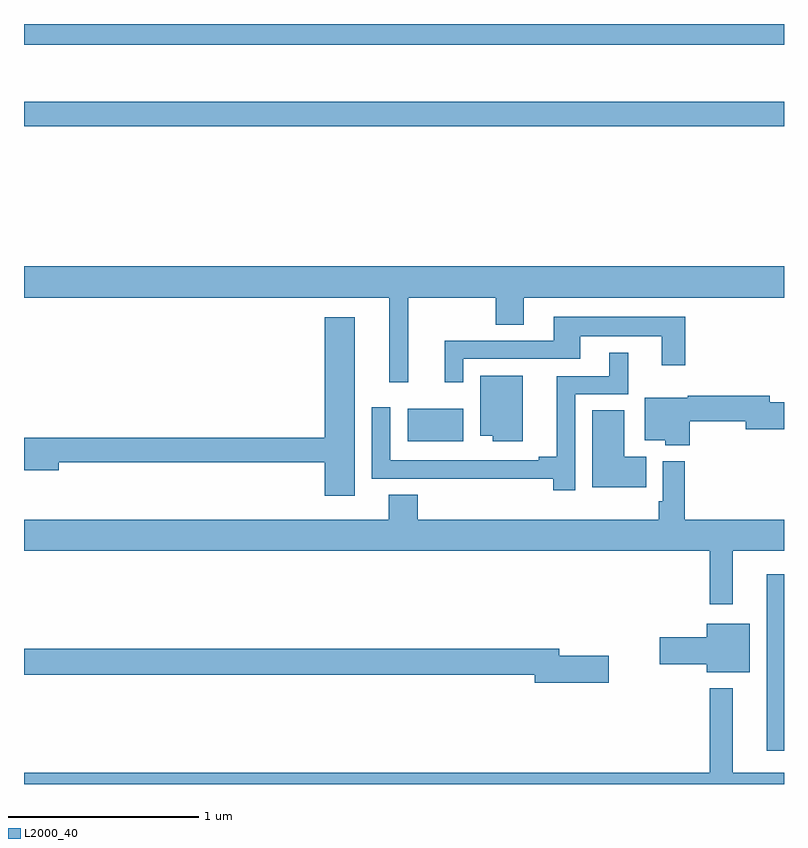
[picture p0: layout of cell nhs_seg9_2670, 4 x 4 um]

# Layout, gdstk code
import gdstk
lib = gdstk.Library(unit=1e-6, precision=1e-09)
def R(c, l, rs):  # rectangles x0, y0, x1, y1
    for r in rs: c.add(gdstk.rectangle(r[:2], r[2:], *l))
def P(c, l, *ps):  # polygons
    for p in ps: c.add(gdstk.Polygon(p, *l))
L2000_40 = (2000, 40)

nhs_seg9_2670 = lib.new_cell('nhs_seg9_2670')
R(nhs_seg9_2670, L2000_40, [(266.909,1220.675,267,1221.604), (265.019,1222.304,265.312,1222.474), (263,1223.962,267,1224.091), (263,1224.392,267,1224.5)])
P(nhs_seg9_2670, L2000_40, [(265.022,1223.06),(265.483,1223.06),(265.483,1222.918),(265.63,1222.918),(265.63,1223.06),(267,1223.06),(267,1223.224),(263,1223.224),(263,1223.06),(264.923,1223.06),(264.923,1222.614),(265.022,1222.614)],
  [(265.311,1222.737),(265.927,1222.737),(265.927,1222.856),(266.357,1222.856),(266.357,1222.704),(266.479,1222.704),(266.479,1222.96),(265.787,1222.96),(265.787,1222.833),(265.214,1222.833),(265.214,1222.614),(265.311,1222.614)],
  [(264.742,1222.957),(264.584,1222.957),(264.584,1222.322),(263,1222.322),(263,1222.151),(263.182,1222.151),(263.182,1222.194),(264.584,1222.194),(264.584,1222.017),(264.742,1222.017)],
  [(265.902,1222.551),(266.179,1222.551),(266.179,1222.771),(266.081,1222.771),(266.081,1222.647),(265.805,1222.647),(265.805,1222.223),(265.709,1222.223),(265.709,1222.203),(264.927,1222.203),(264.927,1222.483),(264.831,1222.483),(264.831,1222.107),(265.156,1222.107),(265.156,1222.106),(265.786,1222.106),(265.786,1222.047),(265.902,1222.047)],
  [(265.624,1222.648),(265.4,1222.648),(265.4,1222.334),(265.466,1222.334),(265.466,1222.304),(265.624,1222.304)],
  [(266.505,1222.408),(266.798,1222.408),(266.798,1222.366),(267,1222.366),(267,1222.508),(266.926,1222.508),(266.926,1222.544),(266.493,1222.544),(266.493,1222.534),(266.267,1222.534),(266.267,1222.31),(266.376,1222.31),(266.376,1222.283),(266.505,1222.283)],
  [(266.276,1222.222),(266.158,1222.222),(266.158,1222.466),(265.991,1222.466),(265.991,1222.061),(266.276,1222.061)],
  [(266.731,1221.728),(267,1221.728),(267,1221.892),(266.477,1221.892),(266.477,1222.198),(266.361,1222.198),(266.361,1221.988),(266.341,1221.988),(266.341,1221.892),(265.073,1221.892),(265.073,1222.022),(264.92,1222.022),(264.92,1221.892),(263,1221.892),(263,1221.728),(266.61,1221.728),(266.61,1221.447),(266.731,1221.447)],
  [(266.821,1221.343),(266.594,1221.343),(266.594,1221.273),(266.346,1221.273),(266.346,1221.131),(266.594,1221.131),(266.594,1221.089),(266.821,1221.089)],
  [(266.077,1221.176),(265.816,1221.176),(265.816,1221.212),(263,1221.212),(263,1221.076),(265.688,1221.076),(265.688,1221.034),(266.077,1221.034)],
  [(267,1220.56),(266.731,1220.56),(266.731,1221.004),(266.61,1221.004),(266.61,1220.56),(263,1220.56),(263,1220.5),(267,1220.5)])

lib.write_gds('nhs_seg9_2670.gds')
